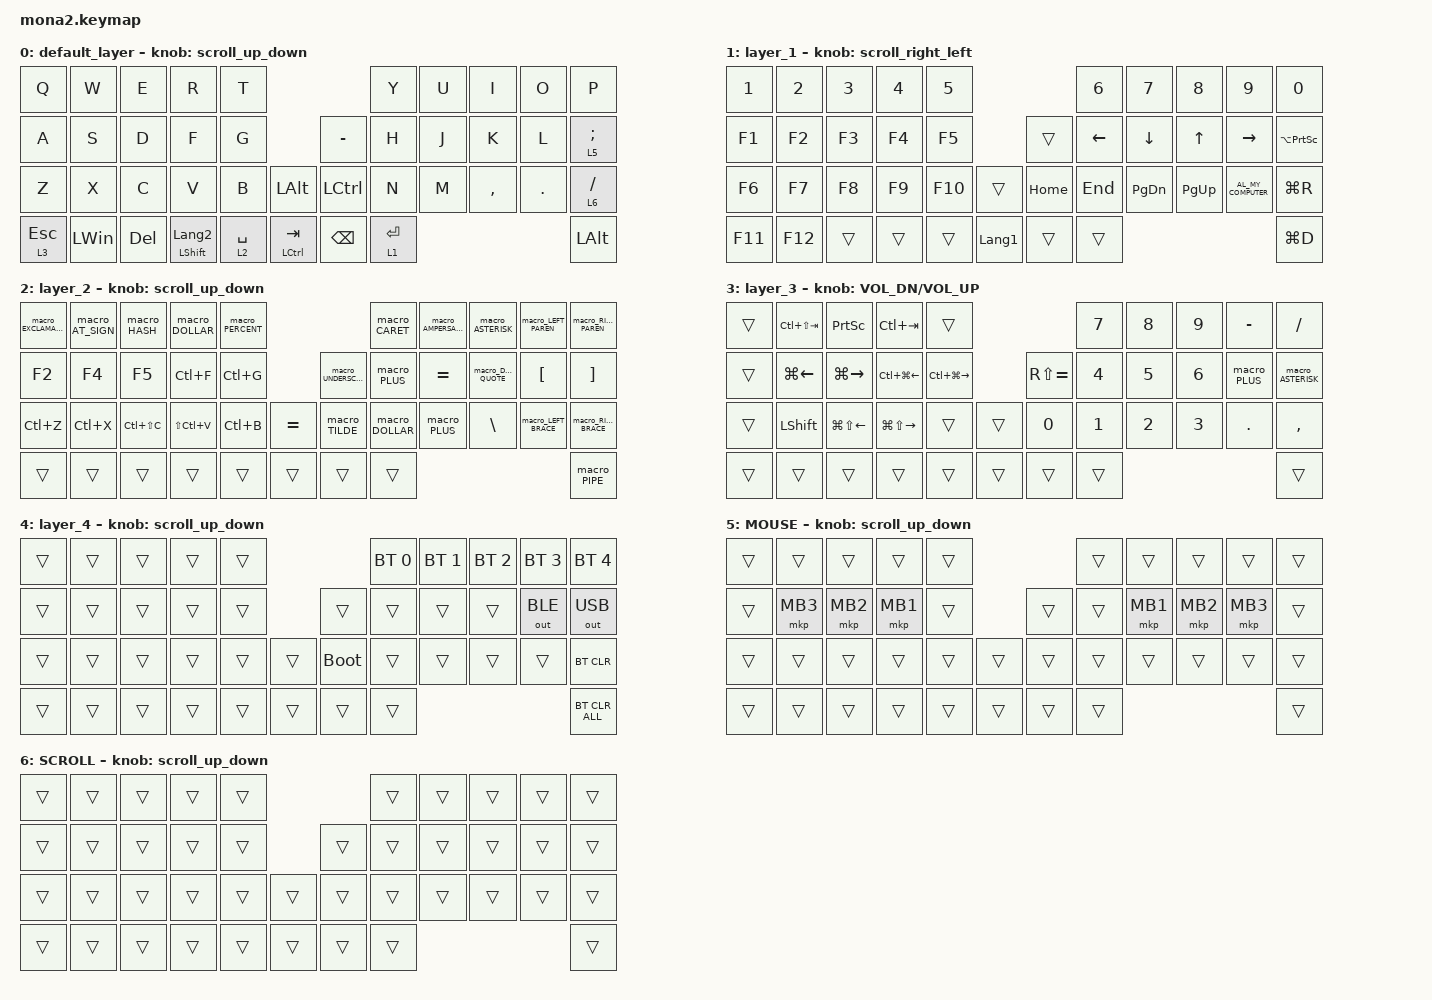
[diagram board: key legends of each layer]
#include <input/processors.dtsi>
#include <dt-bindings/zmk/input_transform.h>
#include <zephyr/dt-bindings/input/input-event-codes.h>
#include <behaviors.dtsi>
#include <dt-bindings/zmk/bt.h>
#include <dt-bindings/zmk/keys.h>
#include <dt-bindings/zmk/outputs.h>
#include <dt-bindings/zmk/pointing.h>

#define ZMK_POINTING_DEFAULT_SCRL_VAL 100
#define NUM 3
#define MOUSE 5
#define SCROLL 6
#define TIMEOUT 50

&mt {
    flavor = "balanced";
    quick-tap-ms = <0>;
};

&lt {
    quick-tap-ms = <300>;
    flavor = "balanced";
};

/ {
    combos {
        compatible = "zmk,combos";

        layer4_ESC {
            bindings = <&lt 4 ESC>;
            key-positions = <39 38>;
        };

        tab {
            bindings = <&kp TAB>;
            key-positions = <11 12>;
        };
    };

    macros {
        to_layer_0: to_layer_0 {
            compatible = "zmk,behavior-macro-one-param";
            #binding-cells = <1>;
            bindings = <&to 0 &macro_param_1to1 &kp MACRO_PLACEHOLDER>;
            label = "TO_LAYER_0";
        };

        macro_EXCLAMATION: macro_EXCLAMATION {
            compatible = "zmk,behavior-macro";
            #binding-cells = <0>;
            label = "!_MACRO";
            wait-ms = <0>;
            bindings =
                <&macro_wait_time TIMEOUT>,
                <&macro_press>,
                <&kp LSHFT>,
                <&macro_tap>,
                <&kp N1>,
                <&macro_release>,
                <&kp LSHFT>;
        };

        macro_AT_SIGN: macro_AT_SIGN {
            compatible = "zmk,behavior-macro";
            #binding-cells = <0>;
            label = "@_MACRO";
            wait-ms = <0>;
            bindings =
                <&macro_wait_time TIMEOUT>,
                <&macro_press>,
                <&kp LSHFT>,
                <&macro_tap>,
                <&kp N2>,
                <&macro_release>,
                <&kp LSHFT>;
        };

        macro_HASH: macro_HASH {
            compatible = "zmk,behavior-macro";
            #binding-cells = <0>;
            label = "#_MACRO";
            wait-ms = <0>;
            bindings =
                <&macro_wait_time TIMEOUT>,
                <&macro_press>,
                <&kp LSHFT>,
                <&macro_tap>,
                <&kp N3>,
                <&macro_release>,
                <&kp LSHFT>;
        };

        macro_DOLLAR: macro_DOLLAR {
            compatible = "zmk,behavior-macro";
            #binding-cells = <0>;
            label = "$_MACRO";
            wait-ms = <0>;
            bindings =
                <&macro_wait_time TIMEOUT>,
                <&macro_press>,
                <&kp LSHFT>,
                <&macro_tap>,
                <&kp N4>,
                <&macro_release>,
                <&kp LSHFT>;
        };

        macro_PERCENT: macro_PERCENT {
            compatible = "zmk,behavior-macro";
            #binding-cells = <0>;
            label = "%_MACRO";
            wait-ms = <0>;
            bindings =
                <&macro_wait_time TIMEOUT>,
                <&macro_press>,
                <&kp LSHFT>,
                <&macro_tap>,
                <&kp N5>,
                <&macro_release>,
                <&kp LSHFT>;
        };

        macro_CARET: macro_CARET {
            compatible = "zmk,behavior-macro";
            #binding-cells = <0>;
            label = "^_MACRO";
            wait-ms = <0>;
            bindings =
                <&macro_wait_time TIMEOUT>,
                <&macro_press>,
                <&kp LSHFT>,
                <&macro_tap>,
                <&kp N6>,
                <&macro_release>,
                <&kp LSHFT>;
        };

        macro_AMPERSAND: macro_AMPERSAND {
            compatible = "zmk,behavior-macro";
            #binding-cells = <0>;
            label = "&_MACRO";
            wait-ms = <0>;
            bindings =
                <&macro_wait_time TIMEOUT>,
                <&macro_press>,
                <&kp LSHFT>,
                <&macro_tap>,
                <&kp N7>,
                <&macro_release>,
                <&kp LSHFT>;
        };

        macro_ASTERISK: macro_ASTERISK {
            compatible = "zmk,behavior-macro";
            #binding-cells = <0>;
            label = "*_MACRO";
            wait-ms = <0>;
            bindings =
                <&macro_wait_time TIMEOUT>,
                <&macro_press>,
                <&kp LSHFT>,
                <&macro_tap>,
                <&kp N8>,
                <&macro_release>,
                <&kp LSHFT>;
        };

        macro_LEFT_PAREN: macro_LEFT_PAREN {
            compatible = "zmk,behavior-macro";
            #binding-cells = <0>;
            label = "(_MACRO";
            wait-ms = <0>;
            bindings =
                <&macro_wait_time TIMEOUT>,
                <&macro_press>,
                <&kp LSHFT>,
                <&macro_tap>,
                <&kp N9>,
                <&macro_release>,
                <&kp LSHFT>;
        };

        macro_RIGHT_PAREN: macro_RIGHT_PAREN {
            compatible = "zmk,behavior-macro";
            #binding-cells = <0>;
            label = ")_MACRO";
            wait-ms = <0>;
            bindings =
                <&macro_wait_time TIMEOUT>,
                <&macro_press>,
                <&kp LSHFT>,
                <&macro_tap>,
                <&kp N0>,
                <&macro_release>,
                <&kp LSHFT>;
        };

        macro_UNDERSCORE: macro_UNDERSCORE {
            compatible = "zmk,behavior-macro";
            #binding-cells = <0>;
            label = "__MACRO";
            wait-ms = <0>;
            bindings =
                <&macro_wait_time TIMEOUT>,
                <&macro_press>,
                <&kp LSHFT>,
                <&macro_tap>,
                <&kp MINUS>,
                <&macro_release>,
                <&kp LSHFT>;
        };

        macro_PLUS: macro_PLUS {
            compatible = "zmk,behavior-macro";
            #binding-cells = <0>;
            label = "+_MACRO";
            wait-ms = <0>;
            bindings =
                <&macro_wait_time TIMEOUT>,
                <&macro_press>,
                <&kp LSHFT>,
                <&macro_tap>,
                <&kp EQUAL>,
                <&macro_release>,
                <&kp LSHFT>;
        };

        macro_LEFT_BRACE: macro_LEFT_BRACE {
            compatible = "zmk,behavior-macro";
            #binding-cells = <0>;
            label = "{_MACRO";
            wait-ms = <0>;
            bindings =
                <&macro_wait_time TIMEOUT>,
                <&macro_press>,
                <&kp LSHFT>,
                <&macro_tap>,
                <&kp LBKT>,
                <&macro_release>,
                <&kp LSHFT>;
        };

        macro_RIGHT_BRACE: macro_RIGHT_BRACE {
            compatible = "zmk,behavior-macro";
            #binding-cells = <0>;
            label = "}_MACRO";
            wait-ms = <0>;
            bindings =
                <&macro_wait_time TIMEOUT>,
                <&macro_press>,
                <&kp LSHFT>,
                <&macro_tap>,
                <&kp RBKT>,
                <&macro_release>,
                <&kp LSHFT>;
        };

        macro_COLON: macro_COLON {
            compatible = "zmk,behavior-macro";
            #binding-cells = <0>;
            label = ":_MACRO";
            wait-ms = <0>;
            bindings =
                <&macro_wait_time TIMEOUT>,
                <&macro_press>,
                <&kp LSHFT>,
                <&macro_tap>,
                <&kp SEMI>,
                <&macro_release>,
                <&kp LSHFT>;
        };

        macro_DOUBLE_QUOTE: macro_DOUBLE_QUOTE {
            compatible = "zmk,behavior-macro";
            #binding-cells = <0>;
            label = "dq_MACRO";
            wait-ms = <0>;
            bindings =
                <&macro_wait_time TIMEOUT>,
                <&macro_press>,
                <&kp LSHFT>,
                <&macro_tap>,
                <&kp APOSTROPHE>,
                <&macro_release>,
                <&kp LSHFT>;
        };

        macro_LESS_THAN: macro_LESS_THAN {
            compatible = "zmk,behavior-macro";
            #binding-cells = <0>;
            label = "<_MACRO";
            wait-ms = <0>;
            bindings =
                <&macro_wait_time TIMEOUT>,
                <&macro_press>,
                <&kp LSHFT>,
                <&macro_tap>,
                <&kp COMMA>,
                <&macro_release>,
                <&kp LSHFT>;
        };

        macro_GREATER_THAN: macro_GREATER_THAN {
            compatible = "zmk,behavior-macro";
            #binding-cells = <0>;
            label = ">_MACRO";
            wait-ms = <0>;
            bindings =
                <&macro_wait_time TIMEOUT>,
                <&macro_press>,
                <&kp LSHFT>,
                <&macro_tap>,
                <&kp DOT>,
                <&macro_release>,
                <&kp LSHFT>;
        };

        macro_QUESTION: macro_QUESTION {
            compatible = "zmk,behavior-macro";
            #binding-cells = <0>;
            label = "?_MACRO";
            wait-ms = <0>;
            bindings =
                <&macro_wait_time TIMEOUT>,
                <&macro_press>,
                <&kp LSHFT>,
                <&macro_tap>,
                <&kp SLASH>,
                <&macro_release>,
                <&kp LSHFT>;
        };

        macro_PIPE: macro_PIPE {
            compatible = "zmk,behavior-macro";
            #binding-cells = <0>;
            label = "|_MACRO";
            wait-ms = <0>;
            bindings =
                <&macro_wait_time TIMEOUT>,
                <&macro_press>,
                <&kp LSHFT>,
                <&macro_tap>,
                <&kp BACKSLASH>,
                <&macro_release>,
                <&kp LSHFT>;
        };

        macro_TILDE: macro_TILDE {
            compatible = "zmk,behavior-macro";
            #binding-cells = <0>;
            label = "~_MACRO";
            wait-ms = <0>;
            bindings =
                <&macro_wait_time TIMEOUT>,
                <&macro_press>,
                <&kp LSHFT>,
                <&macro_tap>,
                <&kp GRAVE>,
                <&macro_release>,
                <&kp LSHFT>;
        };

        macro_N1: macro_N1 {
            compatible = "zmk,behavior-macro";
            #binding-cells = <0>;
            label = "AT_MACRO";
            wait-ms = <0>; // 必要なら調整
            bindings =
                <&macro_wait_time TIMEOUT>,
                <&macro_press>,
                <&kp LSHFT>,
                <&macro_tap>,
                <&kp N1>,
                <&macro_release>,
                <&kp LSHFT>;
        };

        macro_N2: macro_N2 {
            compatible = "zmk,behavior-macro";
            #binding-cells = <0>;
            label = "AT_MACRO";
            wait-ms = <0>; // 必要なら調整
            bindings =
                <&macro_wait_time TIMEOUT>,
                <&macro_press>,
                <&kp LSHFT>,
                <&macro_tap>,
                <&kp N2>,
                <&macro_release>,
                <&kp LSHFT>;
        };

        macro_N3: macro_N3 {
            compatible = "zmk,behavior-macro";
            #binding-cells = <0>;
            label = "AT_MACRO";
            wait-ms = <0>; // 必要なら調整
            bindings =
                <&macro_wait_time TIMEOUT>,
                <&macro_press>,
                <&kp LSHFT>,
                <&macro_tap>,
                <&kp N3>,
                <&macro_release>,
                <&kp LSHFT>;
        };

        macro_N4: macro_N4 {
            compatible = "zmk,behavior-macro";
            #binding-cells = <0>;
            label = "AT_MACRO";
            wait-ms = <0>; // 必要なら調整
            bindings =
                <&macro_wait_time TIMEOUT>,
                <&macro_press>,
                <&kp LSHFT>,
                <&macro_tap>,
                <&kp N4>,
                <&macro_release>,
                <&kp LSHFT>;
        };

        macro_N5: macro_N5 {
            compatible = "zmk,behavior-macro";
            #binding-cells = <0>;
            label = "AT_MACRO";
            wait-ms = <0>; // 必要なら調整
            bindings =
                <&macro_wait_time TIMEOUT>,
                <&macro_press>,
                <&kp LSHFT>,
                <&macro_tap>,
                <&kp N5>,
                <&macro_release>,
                <&kp LSHFT>;
        };

        macro_N6: macro_N6 {
            compatible = "zmk,behavior-macro";
            #binding-cells = <0>;
            label = "AT_MACRO";
            wait-ms = <0>; // 必要なら調整
            bindings =
                <&macro_wait_time TIMEOUT>,
                <&macro_press>,
                <&kp LSHFT>,
                <&macro_tap>,
                <&kp N6>,
                <&macro_release>,
                <&kp LSHFT>;
        };

        macro_N7: macro_N7 {
            compatible = "zmk,behavior-macro";
            #binding-cells = <0>;
            label = "AT_MACRO";
            wait-ms = <0>; // 必要なら調整
            bindings =
                <&macro_wait_time TIMEOUT>,
                <&macro_press>,
                <&kp LSHFT>,
                <&macro_tap>,
                <&kp N7>,
                <&macro_release>,
                <&kp LSHFT>;
        };

        macro_N8: macro_N8 {
            compatible = "zmk,behavior-macro";
            #binding-cells = <0>;
            label = "AT_MACRO";
            wait-ms = <0>; // 必要なら調整
            bindings =
                <&macro_wait_time TIMEOUT>,
                <&macro_press>,
                <&kp LSHFT>,
                <&macro_tap>,
                <&kp N9>,
                <&macro_release>,
                <&kp LSHFT>;
        };

        macro_N9: macro_N9 {
            compatible = "zmk,behavior-macro";
            #binding-cells = <0>;
            label = "AT_MACRO";
            wait-ms = <0>; // 必要なら調整
            bindings =
                <&macro_wait_time TIMEOUT>,
                <&macro_press>,
                <&kp LSHFT>,
                <&macro_tap>,
                <&kp N9>,
                <&macro_release>,
                <&kp LSHFT>;
        };

        macro_N0: macro_N0 {
            compatible = "zmk,behavior-macro";
            #binding-cells = <0>;
            label = "AT_MACRO";
            wait-ms = <0>; // 必要なら調整
            bindings =
                <&macro_wait_time TIMEOUT>,
                <&macro_press>,
                <&kp LSHFT>,
                <&macro_tap>,
                <&kp N0>,
                <&macro_release>,
                <&kp LSHFT>;
        };
    };

    behaviors {
        lt_to_layer_0: lt_to_layer_0 {
            compatible = "zmk,behavior-hold-tap";
            label = "LAYER_TAP_TO_0";
            bindings = <&mo>, <&to_layer_0>;

            #binding-cells = <2>;
            tapping-term-ms = <150>;
        };

        scroll_up_down: mouse_wheel_up_down {
            compatible = "zmk,behavior-sensor-rotate";
            #sensor-binding-cells = <0>;
            bindings = <&msc SCRL_DOWN>, <&msc SCRL_UP>;

            tap-ms = <20>;
        };

        scroll_right_left: mouse_wheel_right_left {
            compatible = "zmk,behavior-sensor-rotate";
            #sensor-binding-cells = <0>;
            bindings = <&msc SCRL_LEFT>, <&msc SCRL_RIGHT>;

            tap-ms = <20>;
        };
    };

    keymap {
        compatible = "zmk,keymap";

        default_layer {
            bindings = <
&kp Q         &kp W         &kp E    &kp R                      &kp T                                        &kp Y        &kp U  &kp I      &kp O    &kp P
&kp A         &kp S         &kp D    &kp F                      &kp G                         &kp MINUS      &kp H        &kp J  &kp K      &kp L    &lt 5 SEMICOLON
&kp Z         &kp X         &kp C    &kp V                      &kp B        &kp LEFT_ALT     &kp LCTRL      &kp N        &kp M  &kp COMMA  &kp DOT  &lt 6 SLASH
&lt 3 ESCAPE  &kp LEFT_WIN  &kp DEL  &mt LEFT_SHIFT LANGUAGE_2  &lt 2 SPACE  &mt LCTRL TAB    &kp BACKSPACE  &lt 1 ENTER                             &kp LEFT_ALT
            >;

            sensor-bindings = <&scroll_up_down>;
        };

        layer_1 {
            bindings = <
&kp NUMBER_1  &kp NUMBER_2  &kp NUMBER_3  &kp NUMBER_4  &kp NUMBER_5                              &kp NUMBER_6    &kp NUMBER_7    &kp NUMBER_8  &kp NUMBER_9          &kp NUMBER_0
&kp F1        &kp F2        &kp F3        &kp F4        &kp F5                          &trans    &kp LEFT_ARROW  &kp DOWN_ARROW  &kp UP_ARROW  &kp RIGHT_ARROW       &kp LA(PRINTSCREEN)
&kp F6        &kp F7        &kp F8        &kp F9        &kp F10       &trans            &kp HOME  &kp END         &kp PAGE_DOWN   &kp PAGE_UP   &kp C_AL_MY_COMPUTER  &kp LG(R)
&kp F11       &kp F12       &trans        &trans        &trans        &kp LANGUAGE_1    &trans    &trans                                                              &kp LG(D)
            >;

            sensor-bindings = <&scroll_right_left>;
        };

        layer_2 {
            bindings = <
&macro_EXCLAMATION  &macro_AT_SIGN  &macro_HASH    &macro_DOLLAR  &macro_PERCENT                                  &macro_CARET   &macro_AMPERSAND  &macro_ASTERISK      &macro_LEFT_PAREN  &macro_RIGHT_PAREN
&kp F2              &kp F4          &kp F5         &kp LC(F)      &kp LC(G)                    &macro_UNDERSCORE  &macro_PLUS    &kp EQUAL         &macro_DOUBLE_QUOTE  &kp LEFT_BRACKET   &kp RIGHT_BRACKET
&kp LC(Z)           &kp LC(X)       &kp LC(LS(C))  &kp LS(LC(V))  &kp LC(B)       &kp EQUAL    &macro_TILDE       &macro_DOLLAR  &macro_PLUS       &kp BACKSLASH        &macro_LEFT_BRACE  &macro_RIGHT_BRACE
&trans              &trans          &trans         &trans         &trans          &trans       &trans             &trans                                                                   &macro_PIPE
            >;

            sensor-bindings = <&scroll_up_down>;
        };

        layer_3 {
            bindings = <
&trans  &kp LC(LS(TAB))     &kp PRINTSCREEN         &kp LC(TAB)              &trans                                            &kp NUMBER_7  &kp NUMBER_8  &kp NUMBER_9  &kp MINUS    &kp SLASH
&trans  &kp LG(LEFT_ARROW)  &kp LG(RIGHT_ARROW)     &kp LC(LG(LEFT_ARROW))   &kp LC(LG(RIGHT_ARROW))            &kp RS(EQUAL)  &kp NUMBER_4  &kp NUMBER_5  &kp NUMBER_6  &macro_PLUS  &macro_ASTERISK
&trans  &kp LEFT_SHIFT      &kp LG(LS(LEFT_ARROW))  &kp LG(LS(RIGHT_ARROW))  &trans                   &trans    &kp NUMBER_0   &kp NUMBER_1  &kp NUMBER_2  &kp NUMBER_3  &kp PERIOD   &kp COMMA
&trans  &trans              &trans                  &trans                   &trans                   &trans    &trans         &trans                                                 &trans
            >;

            sensor-bindings = <&inc_dec_kp C_VOL_DN C_VOL_UP>;
        };

        layer_4 {
            bindings = <
&trans  &trans  &trans  &trans  &trans                         &bt BT_SEL 0  &bt BT_SEL 1  &bt BT_SEL 2  &bt BT_SEL 3  &bt BT_SEL 4
&trans  &trans  &trans  &trans  &trans            &trans       &trans        &trans        &trans        &out OUT_BLE  &out OUT_USB
&trans  &trans  &trans  &trans  &trans  &trans    &bootloader  &trans        &trans        &trans        &trans        &bt BT_CLR
&trans  &trans  &trans  &trans  &trans  &trans    &trans       &trans                                                  &bt BT_CLR_ALL
            >;

            sensor-bindings = <&scroll_up_down>;
        };

        MOUSE {
            bindings = <
&trans  &trans    &trans    &trans    &trans                    &trans  &trans    &trans    &trans    &trans
&trans  &mkp MB3  &mkp MB2  &mkp MB1  &trans            &trans  &trans  &mkp MB1  &mkp MB2  &mkp MB3  &trans
&trans  &trans    &trans    &trans    &trans  &trans    &trans  &trans  &trans    &trans    &trans    &trans
&trans  &trans    &trans    &trans    &trans  &trans    &trans  &trans                                &trans
            >;

            sensor-bindings = <&scroll_up_down>;
        };

        SCROLL {
            bindings = <
&trans  &trans  &trans  &trans  &trans                    &trans  &trans  &trans  &trans  &trans
&trans  &trans  &trans  &trans  &trans            &trans  &trans  &trans  &trans  &trans  &trans
&trans  &trans  &trans  &trans  &trans  &trans    &trans  &trans  &trans  &trans  &trans  &trans
&trans  &trans  &trans  &trans  &trans  &trans    &trans  &trans                          &trans
            >;

            sensor-bindings = <&scroll_up_down>;
        };
    };
};
